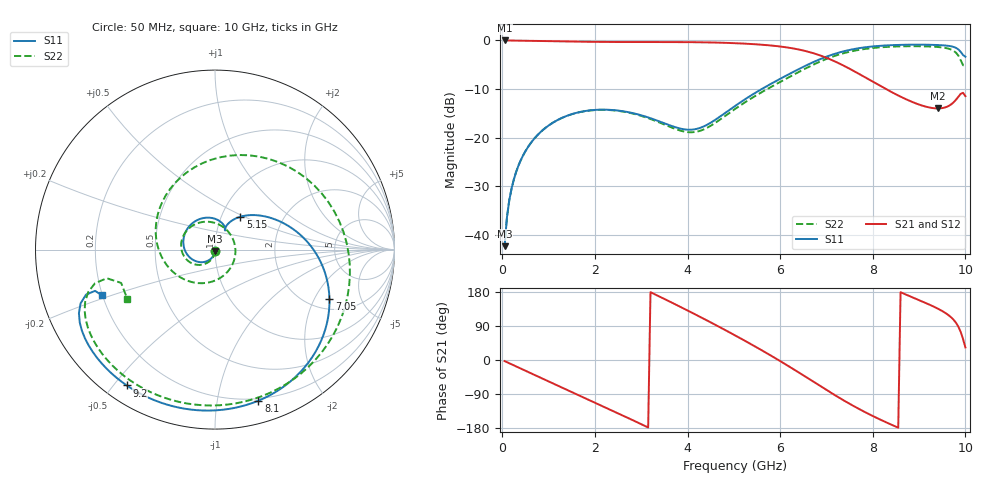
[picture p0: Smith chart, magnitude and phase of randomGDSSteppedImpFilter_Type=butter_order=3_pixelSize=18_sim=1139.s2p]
! freq	dB(S11)	phase(S11)	dB(S12)	phase(S12)
!  dB(S21)	phase(S21)	dB(S22)	phase(S22)
!S-par simulation data
#  GHz  S  DB  R 50
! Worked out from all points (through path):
!   200 points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, 50 MHz to 10 GHz, reference 50 ohm
!   highest |S21| = -0.01 dB at 50 MHz (marker M1); lowest = -14.0 dB at 9.4 GHz (marker M2)
!   group delay of S21, straight-line fit = 179 ps
!   lowest |S11| = -42.4 dB at 50 MHz (marker M3), VSWR 1.02, Z = 50 - j0.76 ohm
!   |S11| at or under -10 dB: start of sweep to 5.605 GHz
!   |S22| runs from -42.4 to -1.2 dB; largest |S21 - S12| = 0
!   S11 on the Smith chart (normalised r, x): 50 MHz: 1.00, -0.02; 5.15 GHz: 1.23, +0.48; 7.05 GHz: 2.51, -2.66; 8.1 GHz: 0.18, -1.31; 9.2 GHz: 0.07, -0.54; 10 GHz: 0.20, -0.19
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0.05  -42.38 -90.9  -0.01 -2.9  -0.01 -2.9  -42.39 -90.1
0.2  -30.52 -102.3  -0.02 -11.4  -0.02 -11.4  -30.51 -99.7
0.5  -22.81 -122.0  -0.06 -28.3  -0.06 -28.3  -22.80 -115.5
1.15  -16.62 -163.0  -0.17 -64.8  -0.17 -64.8  -16.62 -148.1
1.75  -14.61 159.7  -0.27 -98.3  -0.27 -98.3  -14.63 -178.1
2.65  -14.66 106.3  -0.33 -149.1  -0.33 -149.1  -14.73 134.1
3.4  -16.71 71.0  -0.33 167.1  -0.33 167.1  -16.93 82.5
4.3  -17.91 64.2  -0.38 112.0  -0.38 112.0  -18.52 -21.5
5.05  -13.35 55.2  -0.58 63.4  -0.58 63.4  -13.97 -110.8
5.15  -12.70 52.3  -0.62 56.7  -0.62 56.7  -13.32 -121.3
5.95  -8.17 24.1  -1.19 0.9  -1.19 0.9  -8.82 154.3
6.3  -6.40 10.4  -1.68 -25.2  -1.68 -25.2  -7.02 115.3
6.7  -4.54 -6.7  -2.58 -55.9  -2.58 -55.9  -5.07 70.4
7.05  -3.17 -23.3  -3.77 -82.8  -3.77 -82.8  -3.63 32.8
7.55  -1.86 -47.9  -6.09 -119.0  -6.09 -119.0  -2.22 -15.2
8.1  -1.15 -74.0  -9.04 -153.7  -9.04 -153.7  -1.47 -58.7
8.35  -1.00 -85.3  -10.36 -167.8  -10.36 -167.8  -1.31 -75.7
9.2  -0.89 -123.0  -13.77 147.4  -13.77 147.4  -1.24 -125.8
9.4  -0.95 -132.5  -14.01 135.8  -14.01 135.8  -1.35 -136.9
9.75  -1.35 -151.7  -12.71 105.5  -12.71 105.5  -2.17 -158.2
9.9  -2.37 -160.7  -10.99 73.6  -10.99 73.6  -4.10 -165.2
10  -3.36 -158.0  -11.48 33.1  -11.48 33.1  -5.02 -150.3
